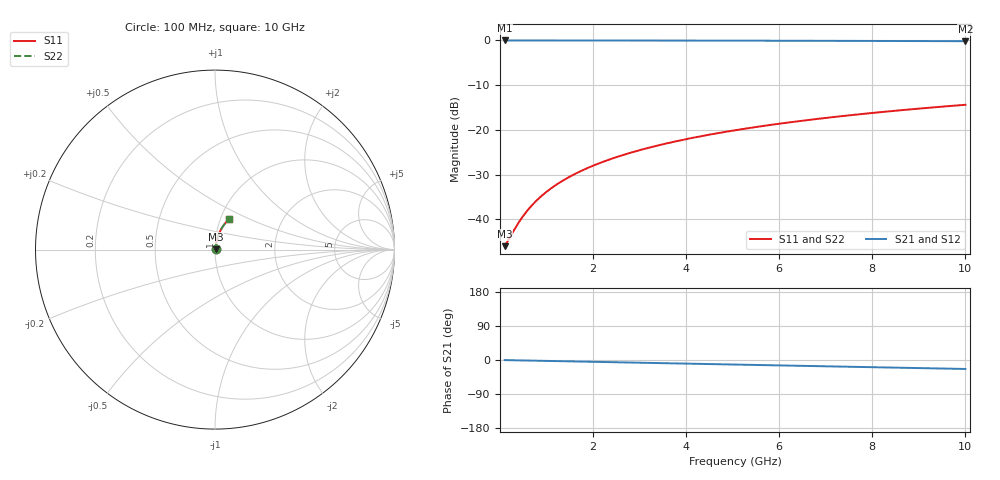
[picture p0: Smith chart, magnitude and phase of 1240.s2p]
# Hz S RI R 50.00
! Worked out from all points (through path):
!   100 points, 100 MHz to 10 GHz, reference 50 ohm
!   highest |S21| = -0.04 dB at 100 MHz (marker M1); lowest = -0.2 dB at 10 GHz (marker M2)
!   group delay of S21, straight-line fit = 6.58 ps
!   lowest |S11| = -46.0 dB at 100 MHz (marker M3), VSWR 1.01, Z = 50.5 + j0.197 ohm
!   |S11| at or under -10 dB: start of sweep to end of sweep
!   |S22| runs from -46.0 to -14.4 dB; largest |S21 - S12| = 0
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1e8  0.00461 0.00195  0.9954 -0.00414  0.9954 -0.00414  0.00461 0.00195
2e8  0.00466 0.0039  0.9953 -0.00828  0.9953 -0.00828  0.00466 0.0039
3e8  0.00472 0.00585  0.9952 -0.0124  0.9952 -0.0124  0.00472 0.00585
4e8  0.0048 0.0078  0.9952 -0.0166  0.9952 -0.0166  0.0048 0.0078
5e8  0.00489 0.00975  0.995 -0.0207  0.995 -0.0207  0.00489 0.00975
6e8  0.00499 0.0117  0.9949 -0.0248  0.9949 -0.0248  0.00499 0.0117
7e8  0.00511 0.0137  0.9948 -0.029  0.9948 -0.029  0.00511 0.0137
8e8  0.00524 0.0156  0.9946 -0.0331  0.9946 -0.0331  0.00524 0.0156
1e9  0.00555 0.0195  0.9942 -0.0414  0.9942 -0.0414  0.00555 0.0195
1.2e9  0.00592 0.0234  0.9937 -0.0496  0.9937 -0.0496  0.00592 0.0234
1.5e9  0.0066 0.0292  0.9928 -0.062  0.9928 -0.062  0.0066 0.0292
1.8e9  0.00742 0.035  0.9918 -0.0744  0.9918 -0.0744  0.00742 0.035
2.1e9  0.00838 0.0407  0.9905 -0.0867  0.9905 -0.0867  0.00838 0.0407
2.5e9  0.00989 0.0484  0.9886 -0.1031  0.9886 -0.1031  0.00989 0.0484
2.9e9  0.0116 0.056  0.9863 -0.1195  0.9863 -0.1195  0.0116 0.056
3.4e9  0.0142 0.0654  0.983 -0.1398  0.983 -0.1398  0.0142 0.0654
4.2e9  0.0191 0.0801  0.9766 -0.1721  0.9766 -0.1721  0.0191 0.0801
5.1e9  0.0257 0.0963  0.9679 -0.2081  0.9679 -0.2081  0.0257 0.0963
5.9e9  0.0325 0.1102  0.9589 -0.2395  0.9589 -0.2395  0.0325 0.1102
6.7e9  0.0403 0.1235  0.9487 -0.2705  0.9487 -0.2705  0.0403 0.1235
8.4e9  0.0595 0.15  0.9231 -0.3345  0.9231 -0.3345  0.0595 0.15
1e10  0.0807 0.1722  0.8946 -0.3919  0.8946 -0.3919  0.0807 0.1722
